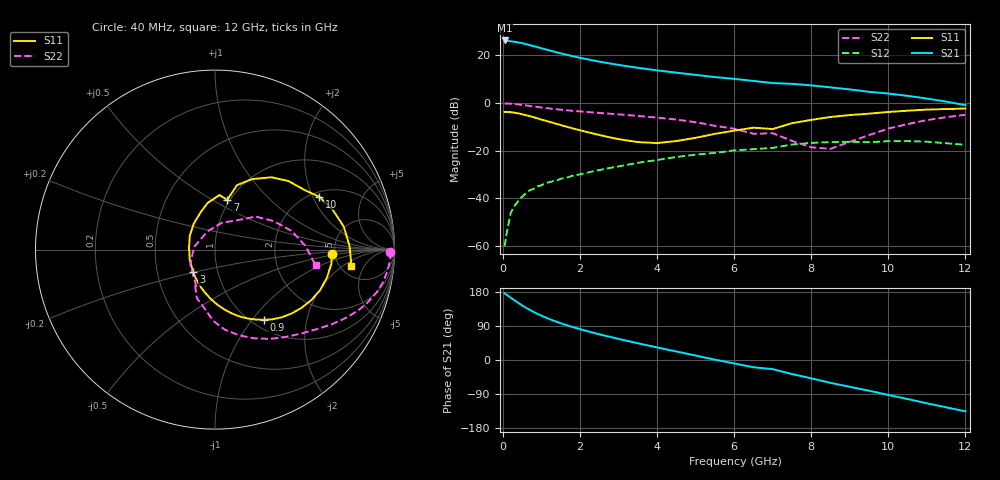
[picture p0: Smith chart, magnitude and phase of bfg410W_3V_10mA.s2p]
! Filename: 310bfg410.001
! BFG410W Field B1
! V1=8.687E-001V,V2=3.000E+000V, I1=1.481E-004A, I2=1.002E-002A
# GHz  S  MA  R 50
!  S11  S21  S12  S22
!Freq(GHz)  Mag  Ang  Mag  Ang  Mag  Ang  Mag  Ang
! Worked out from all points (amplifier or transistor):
!   44 points, 40 MHz to 12 GHz, reference 50 ohm
!   highest |S21| = 26.2 dB at 40 MHz (marker M1)
!   |S21| within 3 dB of that: start of sweep to 936.3 MHz
!   unconditionally stable (mu >= 1): start of sweep to 41.49 MHz; 1.932 GHz to end of sweep
!   at 700 MHz: K = 0.50, MSG = 30.4 dB, |S12| = -36.5 dB
!   at 2.4 GHz: K = 1.10, MAG = 21.1 dB, |S12| = -28.4 dB
!   at 12 GHz: K = 1.51, MAG = 4.1 dB, |S12| = -17.5 dB
!   S11 on the Smith chart (normalised r, x): 40 MHz: 4.70, -0.44; 900 MHz: 1.13, -1.14; 3 GHz: 0.76, -0.20; 7 GHz: 0.97, +0.59; 10 GHz: 2.19, +2.24; 12 GHz: 6.23, -2.83
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0.04  0.652 -2.4  20.53 175.6  0.001 57.0  0.976 -0.8
0.2  0.643 -14.1  19.7 164.2  0.005 81.3  0.967 -7.3
0.3  0.628 -21.0  19.21 157.4  0.007 78.9  0.955 -10.8
0.4  0.606 -27.5  18.62 150.4  0.009 75.5  0.936 -14.2
0.5  0.581 -33.9  17.93 143.7  0.011 71.7  0.914 -17.2
0.7  0.53 -45.3  16.34 132.0  0.015 67.4  0.87 -22.6
0.9  0.476 -55.3  14.81 121.5  0.018 64.0  0.827 -27.1
1.2  0.405 -68.3  12.72 108.1  0.022 60.5  0.771 -32.7
1.5  0.345 -79.6  11.01 96.9  0.026 58.2  0.725 -37.4
1.8  0.296 -90.1  9.634 87.2  0.03 56.3  0.688 -41.7
2.2  0.245 -103.4  8.223 75.7  0.035 54.1  0.648 -47.5
3  0.175 -133.8  6.303 55.6  0.047 48.6  0.58 -59.0
3.5  0.152 -157.5  5.484 44.2  0.056 44.1  0.538 -66.6
4.5  0.16 151.2  4.335 22.4  0.074 32.4  0.45 -82.9
5.5  0.226 109.9  3.502 0.8  0.09 17.6  0.333 -100.0
6.5  0.305 85.3  2.903 -19.1  0.108 3.7  0.227 -119.4
7  0.285 76.2  2.628 -24.1  0.115 8.1  0.233 -116.3
7.5  0.379 71.2  2.527 -37.1  0.135 -7.0  0.161 -148.9
8.5  0.511 52.1  2.131 -60.3  0.152 -30.1  0.11 112.2
10  0.651 26.9  1.583 -92.2  0.159 -60.2  0.292 39.0
10.5  0.692 18.7  1.417 -103.0  0.159 -70.8  0.362 26.2
12  0.766 -7.0  0.906 -135.4  0.133 -109.1  0.567 -8.9
